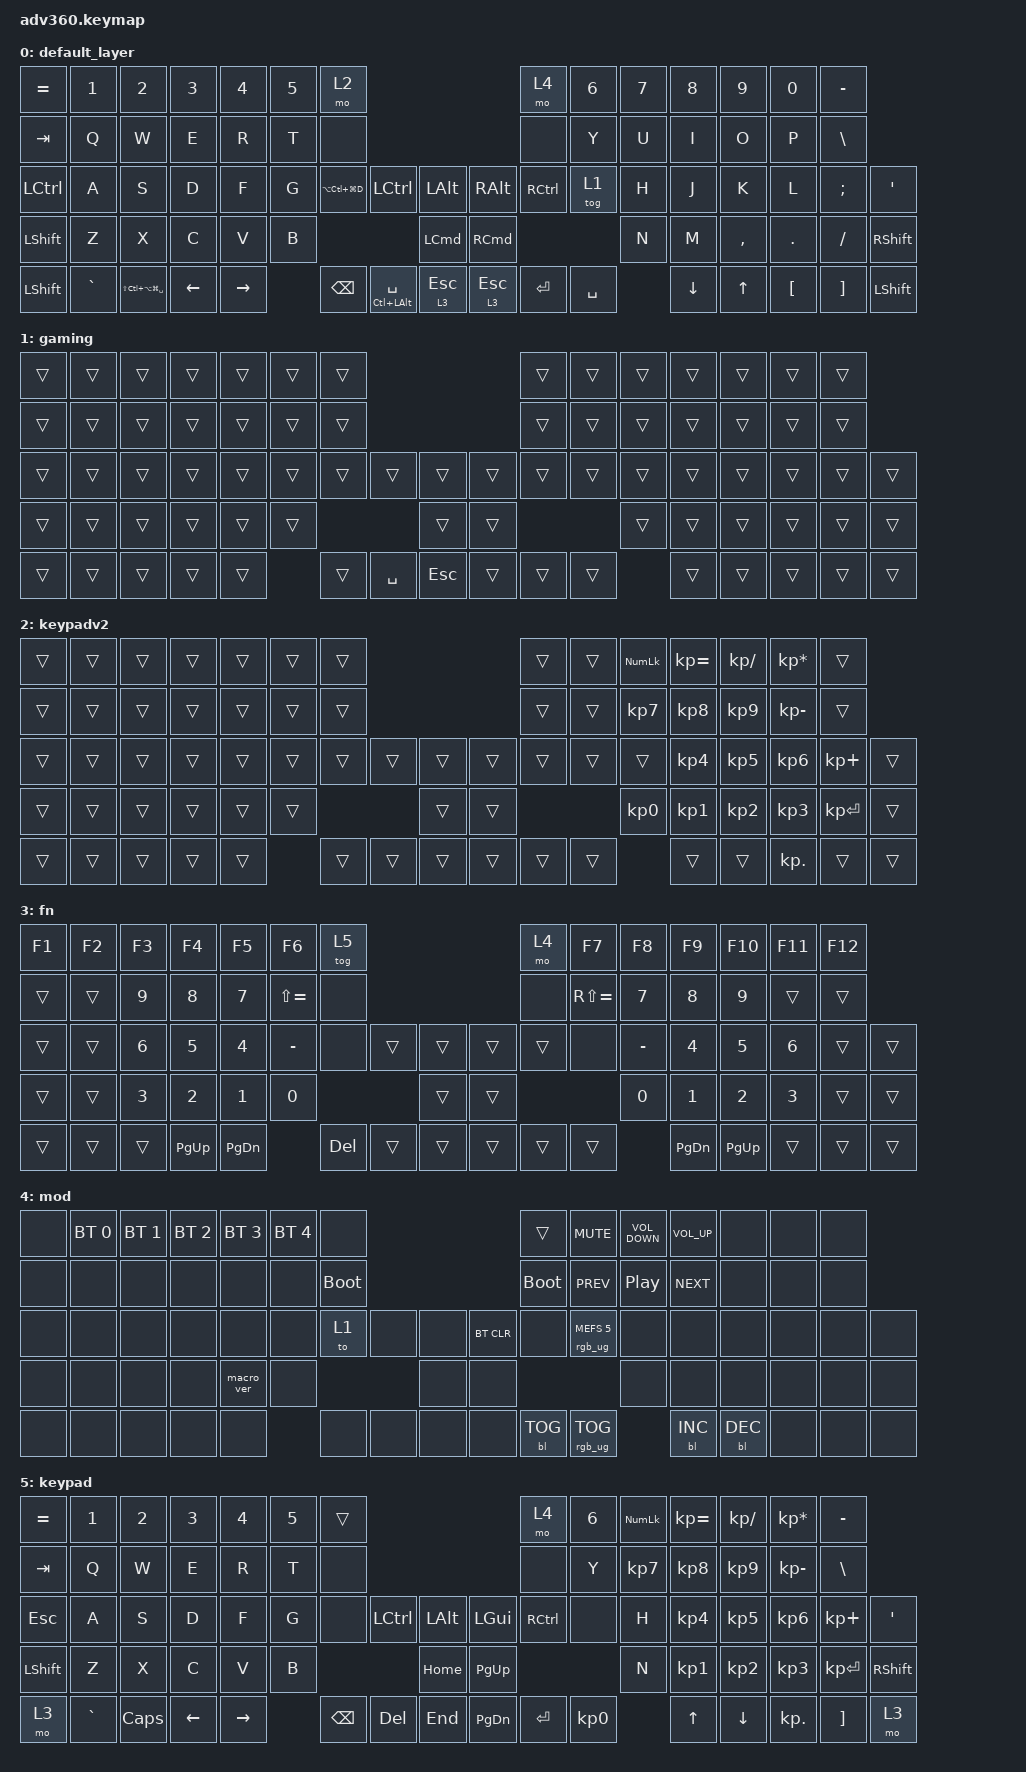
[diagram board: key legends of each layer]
#include <dt-bindings/zmk/stp.h>
#include <behaviors.dtsi>
#include <dt-bindings/zmk/backlight.h>
#include <dt-bindings/zmk/bt.h>
#include <dt-bindings/zmk/keys.h>
#include <dt-bindings/zmk/rgb.h>

/ {
    behaviors {
        #include "macros.dtsi"
      #include "version.dtsi"

        hm: homerow_mods {
            compatible = "zmk,behavior-hold-tap";
            label = "HOMEROW_MODS";
            #binding-cells = <2>;
            tapping-term-ms = <200>;
            quick_tap_ms = <175>;
            flavor = "tap-preferred";
            bindings = <&kp>, <&kp>;
        };
    };

    keymap {
        compatible = "zmk,keymap";

        default_layer {
            bindings = <
&kp EQUAL       &kp N1     &kp N2                     &kp N3    &kp N4     &kp N5  &mo 2                                                                 &mo 4      &kp N6  &kp N7    &kp N8        &kp N9    &kp N0    &kp MINUS
&kp TAB         &kp Q      &kp W                      &kp E     &kp R      &kp T   &none                                                                 &none      &kp Y   &kp U     &kp I         &kp O     &kp P     &kp BSLH
&kp LCTRL       &kp A      &kp S                      &kp D     &kp F      &kp G   &kp LA(LC(LG(D)))  &kp LCTRL               &kp LALT   &kp RIGHT_ALT  &kp RCTRL  &tog 1     &kp H   &kp J     &kp K         &kp L     &kp SEMI  &kp SQT
&kp LSHFT       &kp Z      &kp X                      &kp C     &kp V      &kp B                                              &kp LCMD   &kp RCMD                             &kp N   &kp M     &kp COMMA     &kp DOT   &kp FSLH  &kp RSHFT
&kp LEFT_SHIFT  &kp GRAVE  &kp LS(LC(LA(LG(SPACE))))  &kp LEFT  &kp RIGHT          &kp BSPC           &mt LC(LEFT_ALT) SPACE  &lt 3 ESC  &lt 3 ESCAPE   &kp ENTER  &kp SPACE          &kp DOWN  &kp UP_ARROW  &kp LBKT  &kp RBKT  &kp LEFT_SHIFT
            >;
        };

        gaming {
            bindings = <
&trans  &trans  &trans  &trans  &trans  &trans  &trans                                           &trans  &trans  &trans  &trans  &trans  &trans  &trans
&trans  &trans  &trans  &trans  &trans  &trans  &trans                                           &trans  &trans  &trans  &trans  &trans  &trans  &trans
&trans  &trans  &trans  &trans  &trans  &trans  &trans  &trans     &trans       &trans   &trans  &trans  &trans  &trans  &trans  &trans  &trans  &trans
&trans  &trans  &trans  &trans  &trans  &trans                     &trans       &trans                   &trans  &trans  &trans  &trans  &trans  &trans
&trans  &trans  &trans  &trans  &trans          &trans  &kp SPACE  &kp ESC      &trans   &trans  &trans          &trans  &trans  &trans  &trans  &trans
            >;
        };

        keypadv2 {
            bindings = <
&trans  &trans  &trans  &trans  &trans  &trans  &trans                                      &trans  &trans     &kp KP_NUM  &kp KP_EQUAL  &kp KP_SLASH  &kp KP_MULTIPLY  &trans
&trans  &trans  &trans  &trans  &trans  &trans  &trans                                      &trans  &trans     &kp KP_N7   &kp KP_N8     &kp KP_N9     &kp KP_MINUS     &trans
&trans  &trans  &trans  &trans  &trans  &trans  &trans  &trans  &trans      &trans  &trans  &trans  &trans     &kp KP_N4   &kp KP_N5     &kp KP_N6     &kp KP_PLUS      &trans
&trans  &trans  &trans  &trans  &trans  &trans                  &trans      &trans                  &kp KP_N0  &kp KP_N1   &kp KP_N2     &kp KP_N3     &kp KP_ENTER     &trans
&trans  &trans  &trans  &trans  &trans          &trans  &trans  &trans      &trans  &trans  &trans             &trans      &trans        &kp KP_DOT    &trans           &trans
            >;
        };

        fn {
            bindings = <
&kp F1  &kp F2  &kp F3        &kp F4        &kp F5         &kp F6         &tog 5                                          &mo 4   &kp F7         &kp F8         &kp F9        &kp F10       &kp F11  &kp F12
&trans  &trans  &kp NUMBER_9  &kp NUMBER_8  &kp NUMBER_7   &kp LS(EQUAL)  &none                                           &none   &kp RS(EQUAL)  &kp NUMBER_7   &kp NUMBER_8  &kp NUMBER_9  &trans   &trans
&trans  &trans  &kp NUMBER_6  &kp NUMBER_5  &kp NUMBER_4   &kp MINUS      &none       &trans  &trans      &trans  &trans  &none   &kp MINUS      &kp NUMBER_4   &kp NUMBER_5  &kp NUMBER_6  &trans   &trans
&trans  &trans  &kp NUMBER_3  &kp NUMBER_2  &kp NUMBER_1   &kp NUMBER_0                       &trans      &trans                  &kp NUMBER_0   &kp NUMBER_1   &kp NUMBER_2  &kp NUMBER_3  &trans   &trans
&trans  &trans  &trans        &kp PAGE_UP   &kp PAGE_DOWN                 &kp DELETE  &trans  &trans      &trans  &trans  &trans                 &kp PAGE_DOWN  &kp PAGE_UP   &trans        &trans   &trans
            >;
        };

        mod {
            bindings = <
&none  &bt BT_SEL 0  &bt BT_SEL 1  &bt BT_SEL 2  &bt BT_SEL 3  &bt BT_SEL 4  &none                                                  &trans                  &kp C_MUTE  &kp C_VOLUME_DOWN  &kp C_VOLUME_UP  &none  &none  &none
&none  &none         &none         &none         &none         &none         &bootloader                                            &bootloader             &kp C_PREV  &kp C_PLAY_PAUSE   &kp C_NEXT       &none  &none  &none
&none  &none         &none         &none         &none         &none         &to 1        &none  &none      &bt BT_CLR  &none       &rgb_ug RGB_MEFS_CMD 5  &none       &none              &none            &none  &none  &none
&none  &none         &none         &none         &macro_ver    &none                             &none      &none                                           &none       &none              &none            &none  &none  &none
&none  &none         &none         &none         &none                       &none        &none  &none      &none       &bl BL_TOG  &rgb_ug RGB_TOG                     &bl BL_INC         &bl BL_DEC       &none  &none  &none
            >;
        };

        keypad {
            bindings = <
&kp EQUAL  &kp N1     &kp N2    &kp N3    &kp N4     &kp N5  &trans                                                   &mo 4      &kp N6  &kp KP_NUM  &kp KP_EQUAL  &kp KP_DIVIDE  &kp KP_MULTIPLY  &kp MINUS
&kp TAB    &kp Q      &kp W     &kp E     &kp R      &kp T   &none                                                    &none      &kp Y   &kp KP_N7   &kp KP_N8     &kp KP_N9      &kp KP_MINUS     &kp BSLH
&kp ESC    &kp A      &kp S     &kp D     &kp F      &kp G   &none     &kp LCTRL  &kp LALT      &kp LGUI   &kp RCTRL  &none      &kp H   &kp KP_N4   &kp KP_N5     &kp KP_N6      &kp KP_PLUS      &kp SQT
&kp LSHFT  &kp Z      &kp X     &kp C     &kp V      &kp B                        &kp HOME      &kp PG_UP                        &kp N   &kp KP_N1   &kp KP_N2     &kp KP_N3      &kp KP_ENTER     &kp RSHFT
&mo 3      &kp GRAVE  &kp CAPS  &kp LEFT  &kp RIGHT          &kp BSPC  &kp DEL    &kp END       &kp PG_DN  &kp ENTER  &kp KP_N0          &kp UP      &kp DOWN      &kp KP_DOT     &kp RBKT         &mo 3
            >;
        };
    };
};
